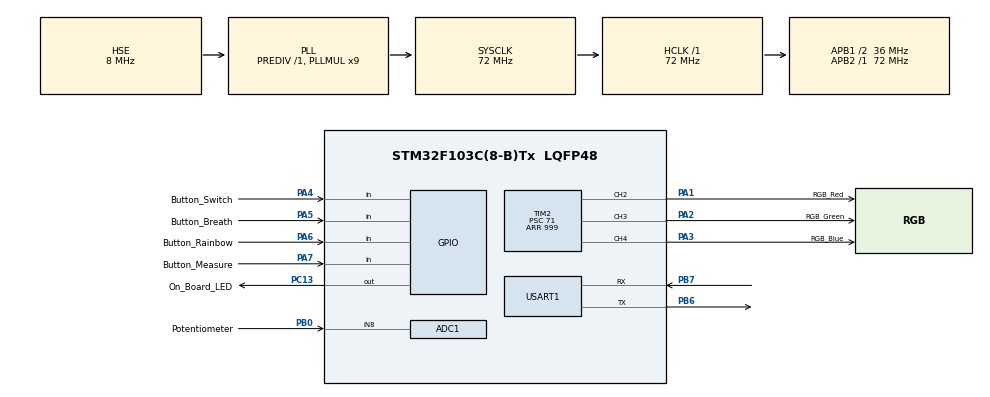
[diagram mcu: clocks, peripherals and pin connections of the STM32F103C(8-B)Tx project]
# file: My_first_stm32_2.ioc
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ADC1.Channel-0\#ChannelRegularConversion=ADC_CHANNEL_8
ADC1.NbrOfConversionFlag=1
ADC1.Rank-0\#ChannelRegularConversion=1
ADC1.SamplingTime-0\#ChannelRegularConversion=ADC_SAMPLETIME_1CYCLE_5
ADC1.master=1
Mcu.Family=STM32F1
Mcu.Name=STM32F103C(8-B)Tx
Mcu.Package=LQFP48
NVIC.PriorityGroup=NVIC_PRIORITYGROUP_4
PA1.GPIO_Label=RGB_Red
PA1.Signal=S_TIM2_CH2
PA13.Mode=Serial_Wire
PA13.Signal=SYS_JTMS-SWDIO
PA14.Mode=Serial_Wire
PA14.Signal=SYS_JTCK-SWCLK
PA2.GPIO_Label=RGB_Green
PA2.Signal=S_TIM2_CH3
PA3.GPIO_Label=RGB_Blue
PA3.Signal=S_TIM2_CH4
PA4.GPIO_Label=Button_Switch
PA4.GPIO_PuPd=GPIO_PULLUP
PA4.Signal=GPIO_Input
PA5.GPIO_Label=Button_Breath
PA5.GPIO_PuPd=GPIO_PULLUP
PA5.Signal=GPIO_Input
PA6.GPIO_Label=Button_Rainbow
PA6.GPIO_PuPd=GPIO_PULLUP
PA6.Signal=GPIO_Input
PA7.GPIO_Label=Button_Measure
PA7.GPIO_PuPd=GPIO_PULLUP
PA7.Signal=GPIO_Input
PB0.GPIO_Label=Potentiometer
PB0.Signal=ADCx_IN8
PB6.Mode=Asynchronous
PB6.Signal=USART1_TX
PB7.GPIO_PuPd=GPIO_NOPULL
PB7.Mode=Asynchronous
PB7.Signal=USART1_RX
PC13-TAMPER-RTC.GPIO_Label=On_Board_LED
PC13-TAMPER-RTC.PinState=GPIO_PIN_SET
PC13-TAMPER-RTC.Signal=GPIO_Output
PD0-OSC_IN.Mode=HSE-External-Oscillator
PD0-OSC_IN.Signal=RCC_OSC_IN
PD1-OSC_OUT.Mode=HSE-External-Oscillator
PD1-OSC_OUT.Signal=RCC_OSC_OUT
ProjectManager.HeapSize=0x200
ProjectManager.StackSize=0x400
ProjectManager.TargetToolchain=MDK-ARM V5.32
RCC.ADCPresc=RCC_ADCPCLK2_DIV6
RCC.AHBFreq_Value=72000000
RCC.APB1CLKDivider=RCC_HCLK_DIV2
RCC.APB1Freq_Value=36000000
RCC.APB1TimFreq_Value=72000000
RCC.APB2Freq_Value=72000000
RCC.APB2TimFreq_Value=72000000
RCC.HCLKFreq_Value=72000000
RCC.PLLMUL=RCC_PLL_MUL9
RCC.PLLSourceVirtual=RCC_PLLSOURCE_HSE
RCC.SYSCLKFreq_VALUE=72000000
RCC.SYSCLKSource=RCC_SYSCLKSOURCE_PLLCLK
RCC.USBFreq_Value=72000000
SH.ADCx_IN8.0=ADC1_IN8,IN8
SH.S_TIM2_CH2.0=TIM2_CH2,PWM Generation2 CH2
SH.S_TIM2_CH3.0=TIM2_CH3,PWM Generation3 CH3
SH.S_TIM2_CH4.0=TIM2_CH4,PWM Generation4 CH4
TIM2.Channel-PWM\ Generation2\ CH2=TIM_CHANNEL_2
TIM2.Channel-PWM\ Generation3\ CH3=TIM_CHANNEL_3
TIM2.Channel-PWM\ Generation4\ CH4=TIM_CHANNEL_4
TIM2.Period=999
TIM2.Prescaler=71
USART1.VirtualMode=VM_ASYNC
VP_TIM2_VS_ClockSourceINT.Mode=Internal
board=custom

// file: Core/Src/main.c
/* USER CODE BEGIN Header */
/**
  ******************************************************************************
  * @file           : main.c
  * @brief          : Main program body
  ******************************************************************************
  * @attention
  *
  * Copyright (c) 2026 STMicroelectronics.
  * All rights reserved.
  *
  * This software is licensed under terms that can be found in the LICENSE file
  * in the root directory of this software component.
  * If no LICENSE file comes with this software, it is provided AS-IS.
  *
  ******************************************************************************
  */
/* USER CODE END Header */
#include "main.h"

/* USER CODE BEGIN Includes */
#include "stdio.h"
#include "string.h"
#include "driver_ssd1306.h"
#include "driver_ssd1306_interface.h"
/* USER CODE END Includes */

/* USER CODE BEGIN PTD */
typedef enum {
	state_Off = 0,
	state_On = 1
} state_type;

typedef enum {
	state_Off_already = 0,
	state_Off_just = 1,
} state_Off_type;

typedef enum {
	state_On_already = 0,
	state_On_just = 1,
} state_On_type;

typedef enum {
	mode_Off = 0,
	mode_Breath = 1,
	mode_Rainbow = 2,
	mode_Measure = 3
} mode_type;

typedef enum {
	Button_First_Pressed = 0,
	Button_Next_Pressed = 1,
	Button_Then_Pressed = 2
} Button_Pressed_Times_type;
typedef enum {
	LED_On = 0,
	LED_Off = 1,
} LED_On_or_Off_type;

typedef enum {
	OLED_On = 0,
	OLED_Off = 1,
} OLED_On_or_Off_type;

typedef void (*Button_Action)(void);
/* USER CODE END PTD */

ADC_HandleTypeDef hadc1;

TIM_HandleTypeDef htim2;

UART_HandleTypeDef huart1;

/* USER CODE BEGIN PV */
uint32_t n = 0;
uint32_t r = 0;
uint32_t g = 0;
uint32_t b = 0;
const uint8_t chinese_font[6][32] = {
    // Nan
    {0x04,0xe4,0x24,0x24,0x64,0xa4,0x24,0x3f,0x24,0xa4,0x64,0x24,0x24,0xe4,0x04,0x00,
     0x00,0xff,0x00,0x08,0x09,0x09,0x09,0x7f,0x09,0x09,0x09,0x48,0x80,0x7f,0x00,0x00},
    // Jing
    {0x04,0x04,0x04,0xe4,0x24,0x24,0x25,0x26,0x24,0x24,0x24,0xe4,0x04,0x04,0x04,0x00,
     0x00,0x40,0x20,0x1b,0x02,0x42,0x82,0x7e,0x02,0x02,0x02,0x0b,0x10,0x60,0x00,0x00},
    // You
    {0x00,0xf8,0x08,0x08,0xff,0x08,0x08,0xf8,0x00,0xfe,0x02,0x22,0xda,0x06,0x00,0x00,
     0x00,0x7f,0x21,0x21,0x3f,0x21,0x21,0x7f,0x00,0xff,0x08,0x10,0x08,0x07,0x00,0x00},
    // Dian
    {0x00,0x00,0xf8,0x88,0x88,0x88,0x88,0xff,0x88,0x88,0x88,0x88,0xf8,0x00,0x00,0x00,
     0x00,0x00,0x1f,0x08,0x08,0x08,0x08,0x7f,0x88,0x88,0x88,0x88,0x9f,0x80,0xf0,0x00},
    // Da
    {0x20,0x20,0x20,0x20,0x20,0x20,0x20,0xff,0x20,0x20,0x20,0x20,0x20,0x20,0x20,0x00,
     0x80,0x80,0x40,0x20,0x10,0x0c,0x03,0x00,0x03,0x0c,0x10,0x20,0x40,0x80,0x80,0x00},
    // Xue
    {0x40,0x30,0x11,0x96,0x90,0x90,0x91,0x96,0x90,0x90,0x98,0x14,0x13,0x50,0x30,0x00,
     0x04,0x04,0x04,0x04,0x04,0x44,0x84,0x7e,0x06,0x05,0x04,0x04,0x04,0x04,0x04,0x00}
};

static ssd1306_handle_t oled;

state_type state = state_Off;
state_Off_type state_Off_mode = state_Off_already;
state_On_type state_On_mode = state_On_already;
mode_type mode = mode_Off;
mode_type displayed_mode = mode_Off;
Button_Pressed_Times_type Button_Switch_Times  = Button_First_Pressed;
Button_Pressed_Times_type Button_Breath_Times  = Button_First_Pressed;
Button_Pressed_Times_type Button_Rainbow_Times = Button_First_Pressed;
Button_Pressed_Times_type Button_Measure_Times = Button_First_Pressed;
/* USER CODE END PV */

void SystemClock_Config(void);
static void MX_GPIO_Init(void);
static void MX_TIM2_Init(void);
static void MX_ADC1_Init(void);
static void MX_USART1_UART_Init(void);
/* USER CODE BEGIN PFP */
static void ssd1306_configure(ssd1306_handle_t *handle);
static void oled_init(void);
/* USER CODE END PFP */

/* USER CODE BEGIN 0 */

static uint32_t triangle(uint32_t phase, uint32_t period, uint32_t max)
{
	uint32_t half = period / 2;
	uint32_t t = phase % period;

	if(t < half){
		return (t * max) / half;}
	else {
return ((period - t) * max) / half;}
}

static void LED_lighted(LED_On_or_Off_type LED_On_or_Off)
{
	if (LED_On_or_Off == LED_On){
		HAL_GPIO_WritePin(On_Board_LED_GPIO_Port, On_Board_LED_Pin, GPIO_PIN_RESET);}
	else {
		HAL_GPIO_WritePin(On_Board_LED_GPIO_Port, On_Board_LED_Pin, GPIO_PIN_SET);}
}

static void OLED_lighted(OLED_On_or_Off_type OLED_On_or_Off)
{
	if (OLED_On_or_Off == OLED_On){
		ssd1306_set_display(&oled, SSD1306_DISPLAY_ON);}
	else {
		ssd1306_set_display(&oled, SSD1306_DISPLAY_OFF);}
}

static void RGB_lighted(uint32_t color_r, uint32_t color_g, uint32_t color_b)
{
	__HAL_TIM_SET_COMPARE(&htim2, TIM_CHANNEL_2, color_r);
	__HAL_TIM_SET_COMPARE(&htim2, TIM_CHANNEL_3, color_g);
	__HAL_TIM_SET_COMPARE(&htim2, TIM_CHANNEL_4, color_b);
}

static void Boot_animation(void)
{
	static uint32_t n1 = 0;
	while(1){
		if( n1 / 25 == 0 ){ RGB_lighted(500,0,0);}
		else if( n1 / 25 == 1 ){ RGB_lighted(500-20*(n1-25),20*(n1-25),0);}
		else if( n1 / 25 == 2 ){ RGB_lighted(0, 500, 0);}
		else if( n1 / 25 == 3 ){ RGB_lighted(0,500-20*(n1-75),20*(n1-75));}
		else if( n1 / 25 == 4 ){ RGB_lighted(0,0,500);}
		else { break;}
		HAL_Delay(12);
		n1 = n1 + 1;}
}

static void Action_Switch(void)
{
	if (state == state_Off){
		state = state_On;
		state_On_mode = state_On_just;}
	else
		{ state = state_Off;
		state_Off_mode = state_Off_just;}
}

static void Action_Breath(void)
{
	mode = mode_Breath;}
static void Action_Rainbow(void)
{
	mode = mode_Rainbow;}
static void Action_Measure(void)
{
	mode = mode_Measure;}
static void Button_detector(GPIO_TypeDef *port, uint16_t pin, Button_Pressed_Times_type *times, Button_Action action)
{
	if (HAL_GPIO_ReadPin(port, pin) == GPIO_PIN_RESET)
	{
		if (*times == Button_First_Pressed){
			*times = Button_Next_Pressed;}
		else if (*times == Button_Next_Pressed){
			if (action != NULL){
				action();}
			*times = Button_Then_Pressed;}
		else {
			/* Waiting for release */ }
	}
	else {
		if (*times == Button_Then_Pressed){
			*times = Button_First_Pressed;}
		else if (*times == Button_Next_Pressed){
			*times = Button_First_Pressed;}
	}
}

static void RGB_Breath(void)
{
	r = triangle(n, 75, 999);
	g = 0;
	b = triangle(n, 75, 999);
	RGB_lighted(r, g, b);
}

static void RGB_Rainbow(void)
{
	r = triangle(n, 50, 999);
	g = triangle(n + 70, 75, 999);
	b = triangle(n + 150, 100, 999);
	RGB_lighted(r, g, b);
}

static uint32_t Potentiometer_Read(void)
{
	static uint32_t adc_val = 0;

	HAL_ADC_Start(&hadc1);
	if (HAL_ADC_PollForConversion(&hadc1, 10) == HAL_OK){
		adc_val = HAL_ADC_GetValue(&hadc1);}
	HAL_ADC_Stop(&hadc1);

	return adc_val;
}

static uint32_t RGB_Measure(void)
{
	uint32_t Brightness = Potentiometer_Read();
	if (Brightness <= 2013){
		r = 999 - (Brightness * 999 / 2013);
		g = Brightness * 999 / 2013;
		b = 0;}
	else {
		r = 0;
		g = 999 - ((Brightness - 2013) * 999 / 2013);
		b = (Brightness - 2013) * 999 / 2013;}
	RGB_lighted(r, g, b);
	return Brightness;
}

int fputc(int ch, FILE *f)
{
	uint8_t temp = (uint8_t)ch;
	HAL_UART_Transmit(&huart1, &temp, 1, 100);
	return ch;
}
static void draw_chinese_16x16(uint8_t x, uint8_t y, const uint8_t *font)
{
    if ((x + 15 > 127) || (y + 15 > 63)) return;

    for (uint8_t i = 0; i < 16; i++){
        uint8_t upper = font[i];
        uint8_t lower = font[16 + i];

        for (uint8_t bit = 0; bit < 8; bit++){
            if (upper & (1 << bit))
                ssd1306_gram_write_point(&oled, x + i, y + bit, 1);
            if (lower & (1 << bit))
                ssd1306_gram_write_point(&oled, x + i, y + 8 + bit, 1);
        }
    }
}

static void display_oled_content(void)
{
    ssd1306_clear(&oled);

    ssd1306_gram_write_string(&oled, 0, 0, "Hello NJUPT!", 12, 1, SSD1306_FONT_16);

    draw_chinese_16x16(0, 16, chinese_font[0]);
    draw_chinese_16x16(16, 16, chinese_font[1]);
    draw_chinese_16x16(32, 16, chinese_font[2]);
    draw_chinese_16x16(48, 16, chinese_font[3]);
    draw_chinese_16x16(64, 16, chinese_font[4]);
    draw_chinese_16x16(80, 16, chinese_font[5]);

    ssd1306_gram_update(&oled);
}

static void display_breath(void)
{
    ssd1306_clear(&oled);
    ssd1306_gram_write_string(&oled, 0, 0, "Breath Mode", 11, 1, SSD1306_FONT_16);
    ssd1306_gram_update(&oled);
}

static void display_rainbow(void)
{
    ssd1306_clear(&oled);
    ssd1306_gram_write_string(&oled, 0, 0, "Rainbow Mode", 12, 1, SSD1306_FONT_16);
    ssd1306_gram_update(&oled);
}

static void ssd1306_clear_area(uint8_t x, uint8_t y, uint8_t w, uint8_t h)
{
    for (uint8_t i = 0; i < w; i++){
        for (uint8_t j = 0; j < h; j++){
            ssd1306_gram_write_point(&oled, x + i, y + j, 0);}}
}
static void display_measure_full(uint32_t brightness, uint32_t volt_100)
{
    char line[24];

    ssd1306_clear(&oled);

    ssd1306_gram_write_string(&oled, 0, 0, "Measure Mode", 12, 1, SSD1306_FONT_16);

    sprintf(line, "ADC: ");
    ssd1306_gram_write_string(&oled, 0, 16, line, strlen(line), 1, SSD1306_FONT_16);

    sprintf(line, "%u", (unsigned)brightness);
    ssd1306_gram_write_string(&oled, 40, 16, line, strlen(line), 1, SSD1306_FONT_16);

    sprintf(line, "V: ");
    ssd1306_gram_write_string(&oled, 0, 32, line, strlen(line), 1, SSD1306_FONT_16);

    sprintf(line, "%u.%02u", (unsigned)(volt_100 / 100), (unsigned)(volt_100 % 100));
    ssd1306_gram_write_string(&oled, 40, 32, line, strlen(line), 1, SSD1306_FONT_16);

    ssd1306_gram_update(&oled);
}
static void display_measure_value(uint32_t brightness, uint32_t volt_100)
{
    char line[16];

    // Clear ADC value area: height 16, width enough
    ssd1306_clear_area(40, 16, 88, 16);

    sprintf(line, "%u", (unsigned)brightness);
    ssd1306_gram_write_string(&oled, 40, 16, line, strlen(line), 1, SSD1306_FONT_16);

    // Clear voltage value area: height 16, width enough
    ssd1306_clear_area(40, 32, 88, 16);

    sprintf(line, "%u.%02u", (unsigned)(volt_100 / 100), (unsigned)(volt_100 % 100));
    ssd1306_gram_write_string(&oled, 40, 32, line, strlen(line), 1, SSD1306_FONT_16);

    ssd1306_gram_update(&oled);
}
static void Update_Display_By_Mode(void)
{
    if (mode != displayed_mode){
        displayed_mode = mode;
        if (mode == mode_Breath){
			display_breath();}
        else if (mode == mode_Rainbow){
			display_rainbow();}
        else if (mode == mode_Measure){
            uint32_t brightness = Potentiometer_Read();
            uint32_t volt_100 = brightness * 330U / 4095U;
            display_measure_full(brightness, volt_100);
        }
        else
			{ display_oled_content();}
    }
}

/* USER CODE END 0 */

int main(void)
{

  /* MCU Configuration--------------------------------------------------------*/

  /* Reset of all peripherals, Initializes the Flash interface and the Systick. */
  HAL_Init();

  /* Configure the system clock */
  SystemClock_Config();

  /* Initialize all configured peripherals */
  MX_GPIO_Init();
  MX_TIM2_Init();
  MX_ADC1_Init();
  MX_USART1_UART_Init();
  /* USER CODE BEGIN 2 */
	HAL_TIM_PWM_Start(&htim2, TIM_CHANNEL_2);  //PA1
	HAL_TIM_PWM_Start(&htim2, TIM_CHANNEL_3);  //PA2
	HAL_TIM_PWM_Start(&htim2, TIM_CHANNEL_4);  //PA3
	oled_init();
	ssd1306_set_display(&oled, SSD1306_DISPLAY_OFF);
	display_oled_content();
	printf("Hello, I'm STM32!\r\n");
	Boot_animation ();
	RGB_lighted (0,0,0);
  /* USER CODE END 2 */

  /* Infinite loop */
  /* USER CODE BEGIN WHILE */
  while (1)
  {
	  Button_detector(Button_Switch_GPIO_Port, Button_Switch_Pin, &Button_Switch_Times, Action_Switch);

	  if (state == state_Off)
	  {
		  if (state_Off_mode == state_Off_just)
		  {
			  RGB_lighted(0,0,0);
			  LED_lighted(LED_Off);
			  OLED_lighted(OLED_Off);
			  mode = mode_Off;
			  state_Off_mode = state_Off_already;
		  }
		  else
		  {
			  // Already off
		  }
	  }
	  else
	  {
		  Button_detector(Button_Breath_GPIO_Port, Button_Breath_Pin, &Button_Breath_Times, Action_Breath);
		  Button_detector(Button_Rainbow_GPIO_Port, Button_Rainbow_Pin, &Button_Rainbow_Times, Action_Rainbow);
		  Button_detector(Button_Measure_GPIO_Port, Button_Measure_Pin, &Button_Measure_Times, Action_Measure);

		  if (state_On_mode == state_On_just)
		  {
			  LED_lighted(LED_On);
			  OLED_lighted(OLED_On);
			  display_oled_content();
			  displayed_mode = mode_Off;
			  state_On_mode = state_On_already;
		  }
		  else
		  {
			  // Already on
		  }

		  if (mode == mode_Breath){
			  RGB_Breath();}
		  else if (mode == mode_Rainbow){
			  RGB_Rainbow();}
		  else if (mode == mode_Measure)
		  {
		      uint32_t brightness = RGB_Measure();
			  if (n % 25 == 0){
				  uint32_t volt_100 = brightness * 330U / 4095U;

				  printf("ADC = %u, Voltage = %u.%02u V\r\n",
					     brightness, volt_100 / 100, volt_100 % 100);

				  display_measure_value(brightness, volt_100);
			  }
		  }
		  else { RGB_lighted(0,0,0); }
		  Update_Display_By_Mode();
	  }

	  n = (n + 1) % 10000;
	  HAL_Delay(20);
    /* USER CODE END WHILE */

  }
}

void SystemClock_Config(void)
{
  RCC_OscInitTypeDef RCC_OscInitStruct = {0};
  RCC_ClkInitTypeDef RCC_ClkInitStruct = {0};
  RCC_PeriphCLKInitTypeDef PeriphClkInit = {0};

  /** Initializes the RCC Oscillators according to the specified parameters
  * in the RCC_OscInitTypeDef structure.
  */
  RCC_OscInitStruct.OscillatorType = RCC_OSCILLATORTYPE_HSE;
  RCC_OscInitStruct.HSEState = RCC_HSE_ON;
  RCC_OscInitStruct.HSEPredivValue = RCC_HSE_PREDIV_DIV1;
  RCC_OscInitStruct.HSIState = RCC_HSI_ON;
  RCC_OscInitStruct.PLL.PLLState = RCC_PLL_ON;
  RCC_OscInitStruct.PLL.PLLSource = RCC_PLLSOURCE_HSE;
  RCC_OscInitStruct.PLL.PLLMUL = RCC_PLL_MUL9;
  if (HAL_RCC_OscConfig(&RCC_OscInitStruct) != HAL_OK)
  {
    Error_Handler();
  }

  /** Initializes the CPU, AHB and APB buses clocks
  */
  RCC_ClkInitStruct.ClockType = RCC_CLOCKTYPE_HCLK|RCC_CLOCKTYPE_SYSCLK
                              |RCC_CLOCKTYPE_PCLK1|RCC_CLOCKTYPE_PCLK2;
  RCC_ClkInitStruct.SYSCLKSource = RCC_SYSCLKSOURCE_PLLCLK;
  RCC_ClkInitStruct.AHBCLKDivider = RCC_SYSCLK_DIV1;
  RCC_ClkInitStruct.APB1CLKDivider = RCC_HCLK_DIV2;
  RCC_ClkInitStruct.APB2CLKDivider = RCC_HCLK_DIV1;

  if (HAL_RCC_ClockConfig(&RCC_ClkInitStruct, FLASH_LATENCY_2) != HAL_OK)
  {
    Error_Handler();
  }
  PeriphClkInit.PeriphClockSelection = RCC_PERIPHCLK_ADC;
  PeriphClkInit.AdcClockSelection = RCC_ADCPCLK2_DIV6;
  if (HAL_RCCEx_PeriphCLKConfig(&PeriphClkInit) != HAL_OK)
  {
    Error_Handler();
  }
}

static void MX_ADC1_Init(void)
{

  ADC_ChannelConfTypeDef sConfig = {0};

  /** Common config
  */
  hadc1.Instance = ADC1;
  hadc1.Init.ScanConvMode = ADC_SCAN_DISABLE;
  hadc1.Init.ContinuousConvMode = DISABLE;
  hadc1.Init.DiscontinuousConvMode = DISABLE;
  hadc1.Init.ExternalTrigConv = ADC_SOFTWARE_START;
  hadc1.Init.DataAlign = ADC_DATAALIGN_RIGHT;
  hadc1.Init.NbrOfConversion = 1;
  if (HAL_ADC_Init(&hadc1) != HAL_OK)
  {
    Error_Handler();
  }

  /** Configure Regular Channel
  */
  sConfig.Channel = ADC_CHANNEL_8;
  sConfig.Rank = ADC_REGULAR_RANK_1;
  sConfig.SamplingTime = ADC_SAMPLETIME_1CYCLE_5;
  if (HAL_ADC_ConfigChannel(&hadc1, &sConfig) != HAL_OK)
  {
    Error_Handler();
  }

}

static void MX_TIM2_Init(void)
{

  TIM_ClockConfigTypeDef sClockSourceConfig = {0};
  TIM_MasterConfigTypeDef sMasterConfig = {0};
  TIM_OC_InitTypeDef sConfigOC = {0};

  htim2.Instance = TIM2;
  htim2.Init.Prescaler = 71;
  htim2.Init.CounterMode = TIM_COUNTERMODE_UP;
  htim2.Init.Period = 999;
  htim2.Init.ClockDivision = TIM_CLOCKDIVISION_DIV1;
  htim2.Init.AutoReloadPreload = TIM_AUTORELOAD_PRELOAD_DISABLE;
  if (HAL_TIM_Base_Init(&htim2) != HAL_OK)
  {
    Error_Handler();
  }
  sClockSourceConfig.ClockSource = TIM_CLOCKSOURCE_INTERNAL;
  if (HAL_TIM_ConfigClockSource(&htim2, &sClockSourceConfig) != HAL_OK)
  {
    Error_Handler();
  }
  if (HAL_TIM_PWM_Init(&htim2) != HAL_OK)
  {
    Error_Handler();
  }
  sMasterConfig.MasterOutputTrigger = TIM_TRGO_RESET;
  sMasterConfig.MasterSlaveMode = TIM_MASTERSLAVEMODE_DISABLE;
  if (HAL_TIMEx_MasterConfigSynchronization(&htim2, &sMasterConfig) != HAL_OK)
  {
    Error_Handler();
  }
  sConfigOC.OCMode = TIM_OCMODE_PWM1;
  sConfigOC.Pulse = 0;
  sConfigOC.OCPolarity = TIM_OCPOLARITY_HIGH;
  sConfigOC.OCFastMode = TIM_OCFAST_DISABLE;
  if (HAL_TIM_PWM_ConfigChannel(&htim2, &sConfigOC, TIM_CHANNEL_2) != HAL_OK)
  {
    Error_Handler();
  }
  if (HAL_TIM_PWM_ConfigChannel(&htim2, &sConfigOC, TIM_CHANNEL_3) != HAL_OK)
  {
    Error_Handler();
  }
  if (HAL_TIM_PWM_ConfigChannel(&htim2, &sConfigOC, TIM_CHANNEL_4) != HAL_OK)
  {
    Error_Handler();
  }
  HAL_TIM_MspPostInit(&htim2);

}

static void MX_USART1_UART_Init(void)
{

  huart1.Instance = USART1;
  huart1.Init.BaudRate = 115200;
  huart1.Init.WordLength = UART_WORDLENGTH_8B;
  huart1.Init.StopBits = UART_STOPBITS_1;
  huart1.Init.Parity = UART_PARITY_NONE;
  huart1.Init.Mode = UART_MODE_TX_RX;
  huart1.Init.HwFlowCtl = UART_HWCONTROL_NONE;
  huart1.Init.OverSampling = UART_OVERSAMPLING_16;
  if (HAL_UART_Init(&huart1) != HAL_OK)
  {
    Error_Handler();
  }

}

static void MX_GPIO_Init(void)
{
  GPIO_InitTypeDef GPIO_InitStruct = {0};

  /* GPIO Ports Clock Enable */
  __HAL_RCC_GPIOC_CLK_ENABLE();
  __HAL_RCC_GPIOD_CLK_ENABLE();
  __HAL_RCC_GPIOA_CLK_ENABLE();
  __HAL_RCC_GPIOB_CLK_ENABLE();

  /*Configure GPIO pin Output Level */
  HAL_GPIO_WritePin(On_Board_LED_GPIO_Port, On_Board_LED_Pin, GPIO_PIN_SET);

  /*Configure GPIO pin : On_Board_LED_Pin */
  GPIO_InitStruct.Pin = On_Board_LED_Pin;
  GPIO_InitStruct.Mode = GPIO_MODE_OUTPUT_PP;
  GPIO_InitStruct.Pull = GPIO_NOPULL;
  GPIO_InitStruct.Speed = GPIO_SPEED_FREQ_LOW;
  HAL_GPIO_Init(On_Board_LED_GPIO_Port, &GPIO_InitStruct);

  /*Configure GPIO pins : Button_Switch_Pin Button_Breath_Pin Button_Rainbow_Pin Button_Measure_Pin */
  GPIO_InitStruct.Pin = Button_Switch_Pin|Button_Breath_Pin|Button_Rainbow_Pin|Button_Measure_Pin;
  GPIO_InitStruct.Mode = GPIO_MODE_INPUT;
  GPIO_InitStruct.Pull = GPIO_PULLUP;
  HAL_GPIO_Init(GPIOA, &GPIO_InitStruct);

}

/* USER CODE BEGIN 4 */
static void ssd1306_configure(ssd1306_handle_t *handle)
{
    ssd1306_write_cmd(handle, (uint8_t[]){0xAE}, 1);
    ssd1306_write_cmd(handle, (uint8_t[]){0xD5, 0x80}, 2);
    ssd1306_write_cmd(handle, (uint8_t[]){0xA8, 0x3F}, 2);
    ssd1306_write_cmd(handle, (uint8_t[]){0xD3, 0x00}, 2);
    ssd1306_write_cmd(handle, (uint8_t[]){0x40}, 1);
    ssd1306_write_cmd(handle, (uint8_t[]){0x8D, 0x14}, 2);
    ssd1306_write_cmd(handle, (uint8_t[]){0x20, 0x02}, 2);
    ssd1306_write_cmd(handle, (uint8_t[]){0xA1}, 1);
    ssd1306_write_cmd(handle, (uint8_t[]){0xC8}, 1);
    ssd1306_write_cmd(handle, (uint8_t[]){0xDA, 0x12}, 2);
    ssd1306_write_cmd(handle, (uint8_t[]){0x81, 0xCF}, 2);
    ssd1306_write_cmd(handle, (uint8_t[]){0xD9, 0xF1}, 2);
    ssd1306_write_cmd(handle, (uint8_t[]){0xDB, 0x40}, 2);
    ssd1306_write_cmd(handle, (uint8_t[]){0xA4, 0xA6}, 2);
    ssd1306_write_cmd(handle, (uint8_t[]){0xAF}, 1);
}

static void oled_init(void)
{
    DRIVER_SSD1306_LINK_INIT(&oled, ssd1306_handle_t);

    DRIVER_SSD1306_LINK_IIC_INIT(&oled, ssd1306_interface_iic_init);
    DRIVER_SSD1306_LINK_IIC_DEINIT(&oled, ssd1306_interface_iic_deinit);
    DRIVER_SSD1306_LINK_IIC_WRITE(&oled, ssd1306_interface_iic_write);
    DRIVER_SSD1306_LINK_DELAY_MS(&oled, ssd1306_interface_delay_ms);
    DRIVER_SSD1306_LINK_DEBUG_PRINT(&oled, ssd1306_interface_debug_print);
    DRIVER_SSD1306_LINK_SPI_INIT(&oled, ssd1306_interface_spi_init);
    DRIVER_SSD1306_LINK_SPI_DEINIT(&oled, ssd1306_interface_spi_deinit);
    DRIVER_SSD1306_LINK_SPI_WRITE_COMMAND(&oled, ssd1306_interface_spi_write_cmd);
    DRIVER_SSD1306_LINK_SPI_COMMAND_DATA_GPIO_INIT(&oled, ssd1306_interface_spi_cmd_data_gpio_init);
    DRIVER_SSD1306_LINK_SPI_COMMAND_DATA_GPIO_DEINIT(&oled, ssd1306_interface_spi_cmd_data_gpio_deinit);
    DRIVER_SSD1306_LINK_SPI_COMMAND_DATA_GPIO_WRITE(&oled, ssd1306_interface_spi_cmd_data_gpio_write);
    DRIVER_SSD1306_LINK_RESET_GPIO_INIT(&oled, ssd1306_interface_reset_gpio_init);
    DRIVER_SSD1306_LINK_RESET_GPIO_DEINIT(&oled, ssd1306_interface_reset_gpio_deinit);
    DRIVER_SSD1306_LINK_RESET_GPIO_WRITE(&oled, ssd1306_interface_reset_gpio_write);

    ssd1306_set_interface(&oled, SSD1306_INTERFACE_IIC);
    ssd1306_set_addr_pin(&oled, SSD1306_ADDR_SA0_0);

    ssd1306_init(&oled);
    ssd1306_configure(&oled);
    ssd1306_gram_update(&oled);
}

/* USER CODE END 4 */

void Error_Handler(void)
{
  __disable_irq();
  while (1)
  {
  }
}
